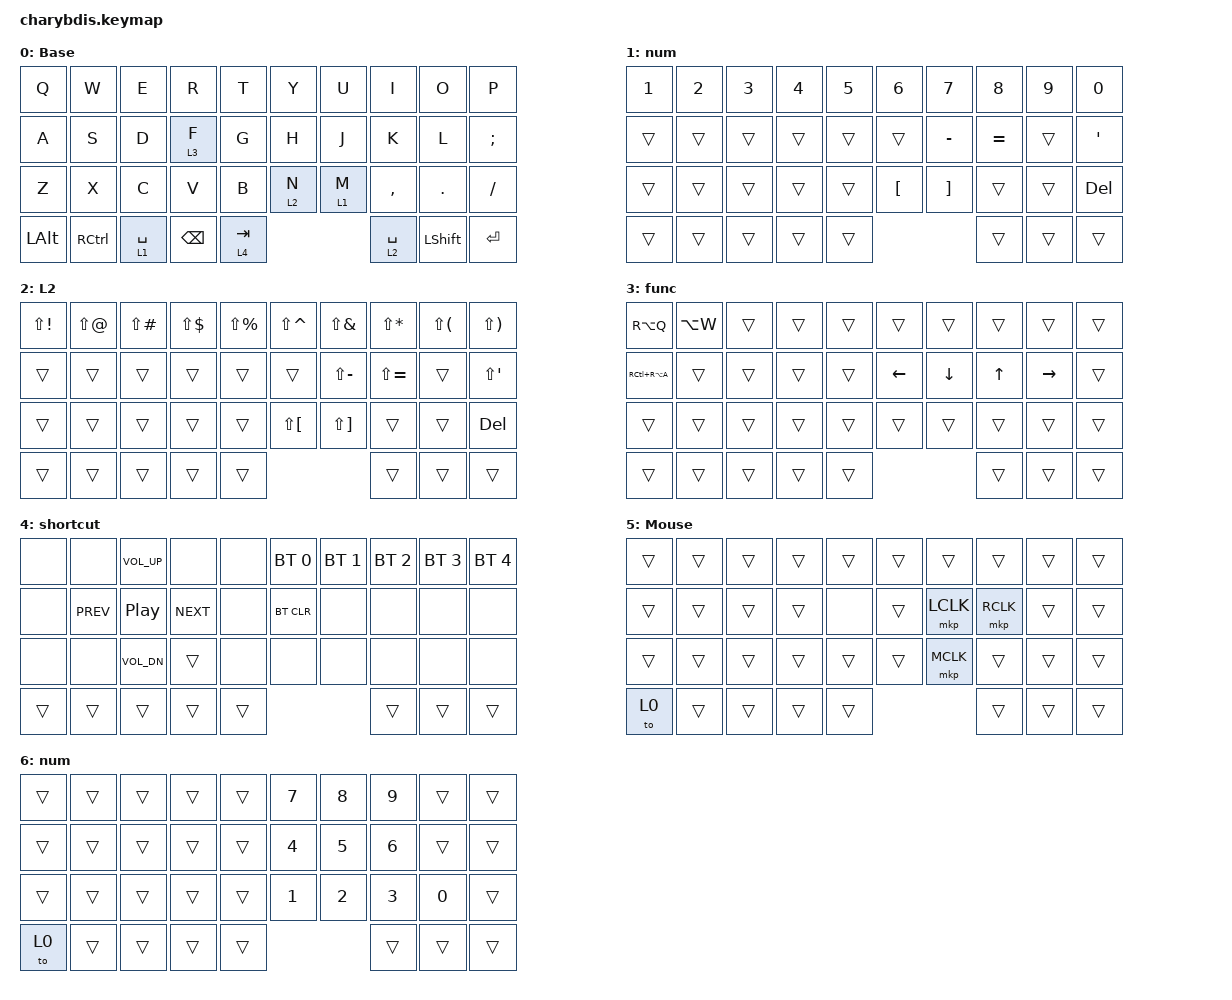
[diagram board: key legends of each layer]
#include <behaviors.dtsi>
#include <dt-bindings/zmk/bt.h>
#include <dt-bindings/zmk/keys.h>
#include <dt-bindings/zmk/mouse.h>

&lt {
    tapping-term-ms = <240>;
    flavor = "balanced";
    quick-tap-ms = <150>;
};

&mt {
    global-quick-tap;
    flavor = "tap-preferred";
    tapping-term-ms = <200>;
};

&sk {
    release-after-ms = <2000>;
    quick-release;
};

/ {
    combos {
        compatible = "zmk,combos";

        combo_esc {
            timeout-ms = <50>;
            key-positions = <0 1>;
            bindings = <&kp ESC>;
        };

        left_bkt {
            bindings = <&kp LEFT_BRACKET>;
            key-positions = <4 3>;
            timeout-ms = <50>;
        };

        right_bkt {
            bindings = <&kp RIGHT_BRACKET>;
            key-positions = <6 5>;
            timeout-ms = <50>;
        };

        left_par {
            bindings = <&kp LEFT_PARENTHESIS>;
            key-positions = <14 13>;
            timeout-ms = <50>;
        };

        right_par {
            bindings = <&kp RIGHT_PARENTHESIS>;
            key-positions = <15 16>;
            timeout-ms = <50>;
        };

        bac {
            bindings = <&kp BACKSLASH>;
            key-positions = <5 16>;
            timeout-ms = <50>;
        };

        pipe {
            bindings = <&kp PIPE>;
            key-positions = <5 15>;
            timeout-ms = <50>;
        };

        ToNumpad {
            bindings = <&to 6>;
            key-positions = <20 21>;
        };

        Tomouse {
            bindings = <&to 5>;
            key-positions = <8 9>;
        };
    };

    behaviors {
        hm: homerow_mods {
            compatible = "zmk,behavior-hold-tap";
            label = "HOMEROW_MODS";
            bindings = <&kp>, <&kp>;

            #binding-cells = <2>;
            tapping-term-ms = <200>;
            quick-tap-ms = <180>;
            flavor = "tap-preferred";
        };

        ltq: ltq {
            compatible = "zmk,behavior-hold-tap";
            label = "LTQ";
            bindings = <&mo>, <&kp>;

            #binding-cells = <2>;
            tapping-term-ms = <200>;
            quick-tap-ms = <180>;
            flavor = "tap-preferred";
        };

        as: auto_shift {
            compatible = "zmk,behavior-hold-tap";
            label = "AUTO_SHIFT";
            bindings = <&kp>, <&kp>;

            #binding-cells = <2>;
            tapping-term-ms = <135>;
            quick-tap-ms = <0>;
        };
    };

    macros {
        macro1: new_macro {
            compatible = "zmk,behavior-macro";
            #binding-cells = <0>;
            bindings = <&kp RIGHT &kp ENTER>;
            label = "NEW_MACRO";
        };
    };

    keymap {
        compatible = "zmk,keymap";

        Base {
            label = "Base";
            bindings = <
&kp Q         &kp W      &kp E         &kp R          &kp T       &kp Y     &kp U     &kp I         &kp O           &kp P
&kp A         &kp S      &kp D         &ltq 3 F       &kp G       &kp H     &kp J     &kp K         &kp L           &kp SEMI
&kp Z         &kp X      &kp C         &kp V          &kp B       &ltq 2 N  &ltq 1 M  &kp COMMA     &kp DOT         &kp FSLH
&kp LEFT_ALT  &kp RCTRL  &ltq 1 SPACE  &kp BACKSPACE  &ltq 4 TAB                      &ltq 2 SPACE  &kp LEFT_SHIFT  &kp ENTER
            >;
        };

        L1 {
            bindings = <
&kp N1  &kp N2  &kp N3  &kp N4  &kp N5  &kp N6    &kp N7             &kp N8     &kp N9  &kp N0
&trans  &trans  &trans  &trans  &trans  &trans    &kp MINUS          &kp EQUAL  &trans  &kp SQT
&trans  &trans  &trans  &trans  &trans  &kp LBKT  &kp RIGHT_BRACKET  &trans     &trans  &kp DEL
&trans  &trans  &trans  &trans  &trans                               &trans     &trans  &trans
            >;

            label = "num";
        };

        L2 {
            bindings = <
&kp LS(EXCL)  &kp LS(AT)  &kp LS(POUND)  &kp LS(DLLR)  &kp LS(PRCNT)  &kp LS(CARET)         &kp LS(AMPS)   &kp LS(STAR)   &kp LS(LPAR)  &kp LS(RPAR)
&trans        &trans      &trans         &trans        &trans         &trans                &kp LS(MINUS)  &kp LS(EQUAL)  &trans        &kp LS(SQT)
&trans        &trans      &trans         &trans        &trans         &kp LS(LEFT_BRACKET)  &kp LS(RBKT)   &trans         &trans        &kp DELETE
&trans        &trans      &trans         &trans        &trans                                              &trans         &trans        &trans
            >;
        };

        func {
            bindings = <
&kp RA(Q)      &kp LA(W)  &trans  &trans  &trans  &trans    &trans    &trans  &trans     &trans
&kp RC(RA(A))  &trans     &trans  &trans  &trans  &kp LEFT  &kp DOWN  &kp UP  &kp RIGHT  &trans
&trans         &trans     &trans  &trans  &trans  &trans    &trans    &trans  &trans     &trans
&trans         &trans     &trans  &trans  &trans                      &trans  &trans     &trans
            >;
        };

        Shortcut {
            label = "shortcut";
            bindings = <
&none   &none       &kp C_VOL_UP  &none       &none   &bt BT_SEL 0  &bt BT_SEL 1  &bt BT_SEL 2  &bt BT_SEL 3  &bt BT_SEL 4
&none   &kp C_PREV  &kp C_PP      &kp C_NEXT  &none   &bt BT_CLR    &none         &none         &none         &none
&none   &none       &kp C_VOL_DN  &trans      &none   &none         &none         &none         &none         &none
&trans  &trans      &trans        &trans      &trans                              &trans        &trans        &trans
            >;
        };

        Mouse {
            bindings = <
&trans  &trans  &trans  &trans  &trans  &trans  &trans     &trans     &trans  &trans
&trans  &trans  &trans  &trans  &none   &trans  &mkp LCLK  &mkp RCLK  &trans  &trans
&trans  &trans  &trans  &trans  &trans  &trans  &mkp MCLK  &trans     &trans  &trans
&to 0   &trans  &trans  &trans  &trans                     &trans     &trans  &trans
            >;
        };

        num {
            bindings = <
&trans  &trans  &trans  &trans  &trans  &kp N7  &kp N8  &kp N9  &trans  &trans
&trans  &trans  &trans  &trans  &trans  &kp N4  &kp N5  &kp N6  &trans  &trans
&trans  &trans  &trans  &trans  &trans  &kp N1  &kp N2  &kp N3  &kp N0  &trans
&to 0   &trans  &trans  &trans  &trans                  &trans  &trans  &trans
            >;
        };
    };
};
